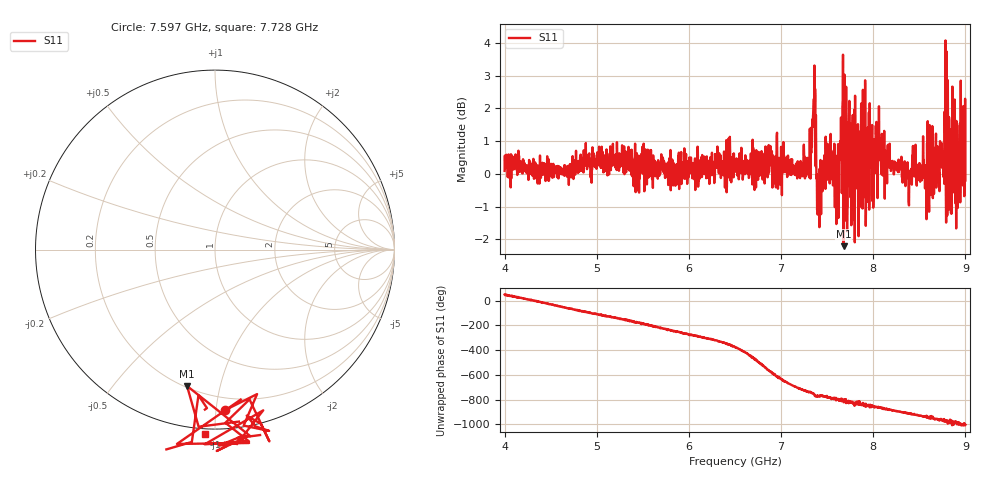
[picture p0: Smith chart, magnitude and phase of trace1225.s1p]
! Created with skrf 1.8.0 (http://scikit-rf.org).
# Hz S RI R 50.0
!freq ReS11 ImS11
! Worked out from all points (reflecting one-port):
!   1601 points, 4 GHz to 9 GHz, reference 50 ohm
!   lowest |S11| = -2.2 dB at 7.678 GHz (marker M1), VSWR 7.91, Z = 10.4 - j39.7 ohm
!   phase of S11 starts at 50 deg and turns -1053 deg over the sweep
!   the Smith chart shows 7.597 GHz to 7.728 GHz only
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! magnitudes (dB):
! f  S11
! 4 GHz  0.1
! 4.625 GHz  0.0
! 5.25 GHz  0.4
! 5.875 GHz  0.3
! 6.5 GHz  0.3
! 7.125 GHz  0.0
! 7.294 GHz  0.0
! 7.347 GHz  1.8
! 7.362 GHz  3.3
! 7.409 GHz  -0.9
! 7.481 GHz  -0.5
! 7.6 GHz  -1.5
! 7.65 GHz  1.7
! 7.678 GHz  -2.2
! 7.75 GHz  -0.3
! 7.825 GHz  0.7
! 7.891 GHz  0.9
! 7.944 GHz  1.3
! 7.962 GHz  2.2
! 7.981 GHz  0.2
! 8.05 GHz  0.5
! 8.375 GHz  0.0
! 8.584 GHz  0.9
! 8.8 GHz  0.3
! 8.825 GHz  1.6
! 8.919 GHz  -0.8
! 8.972 GHz  0.5
! 9 GHz  -0.2
